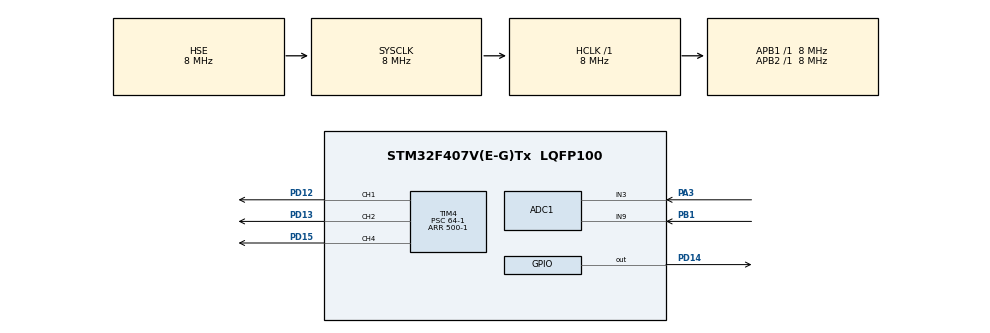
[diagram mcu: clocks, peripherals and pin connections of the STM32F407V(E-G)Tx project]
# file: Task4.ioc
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ADC1.Channel-10\#ChannelRegularConversion=ADC_CHANNEL_TEMPSENSOR
ADC1.Channel-8\#ChannelRegularConversion=ADC_CHANNEL_3
ADC1.Channel-9\#ChannelRegularConversion=ADC_CHANNEL_9
ADC1.ContinuousConvMode=ENABLE
ADC1.DMAContinuousRequests=ENABLE
ADC1.NbrOfConversion=3
ADC1.NbrOfConversionFlag=1
ADC1.Rank-10\#ChannelRegularConversion=3
ADC1.Rank-8\#ChannelRegularConversion=1
ADC1.Rank-9\#ChannelRegularConversion=2
ADC1.SamplingTime-10\#ChannelRegularConversion=ADC_SAMPLETIME_480CYCLES
ADC1.SamplingTime-8\#ChannelRegularConversion=ADC_SAMPLETIME_480CYCLES
ADC1.SamplingTime-9\#ChannelRegularConversion=ADC_SAMPLETIME_480CYCLES
ADC1.master=1
Dma.ADC1.0.Direction=DMA_PERIPH_TO_MEMORY
Dma.ADC1.0.FIFOMode=DMA_FIFOMODE_DISABLE
Dma.ADC1.0.Instance=DMA2_Stream0
Dma.ADC1.0.MemDataAlignment=DMA_MDATAALIGN_WORD
Dma.ADC1.0.MemInc=DMA_MINC_ENABLE
Dma.ADC1.0.Mode=DMA_CIRCULAR
Dma.ADC1.0.PeriphDataAlignment=DMA_PDATAALIGN_WORD
Dma.ADC1.0.PeriphInc=DMA_PINC_DISABLE
Dma.ADC1.0.Priority=DMA_PRIORITY_LOW
Dma.Request0=ADC1
Mcu.Family=STM32F4
Mcu.Name=STM32F407V(E-G)Tx
Mcu.Package=LQFP100
NVIC.DMA2_Stream0_IRQn=true\:0\:0\:false\:false\:true\:false\:true
NVIC.PriorityGroup=NVIC_PRIORITYGROUP_4
PA3.Signal=ADCx_IN3
PB1.Signal=ADCx_IN9
PD12.Signal=S_TIM4_CH1
PD13.Signal=S_TIM4_CH2
PD14.Signal=GPIO_Output
PD15.Signal=S_TIM4_CH4
PH0-OSC_IN.Mode=HSE-External-Oscillator
PH0-OSC_IN.Signal=RCC_OSC_IN
PH1-OSC_OUT.Mode=HSE-External-Oscillator
PH1-OSC_OUT.Signal=RCC_OSC_OUT
ProjectManager.HeapSize=0x200
ProjectManager.StackSize=0x400
ProjectManager.TargetToolchain=STM32CubeIDE
RCC.48MHZClocksFreq_Value=24000000
RCC.AHBFreq_Value=8000000
RCC.APB1Freq_Value=8000000
RCC.APB1TimFreq_Value=8000000
RCC.APB2Freq_Value=8000000
RCC.APB2TimFreq_Value=8000000
RCC.CortexFreq_Value=8000000
RCC.HCLKFreq_Value=8000000
RCC.HSE_VALUE=8000000
RCC.HSI_VALUE=16000000
RCC.LSE_VALUE=32768
RCC.PLLSourceVirtual=RCC_PLLSOURCE_HSE
RCC.SYSCLKFreq_VALUE=8000000
RCC.SYSCLKSource=RCC_SYSCLKSOURCE_HSE
RCC.VCOOutputFreq_Value=96000000
SH.ADCx_IN3.0=ADC1_IN3,IN3
SH.ADCx_IN9.0=ADC1_IN9,IN9
SH.S_TIM4_CH1.0=TIM4_CH1,PWM Generation1 CH1
SH.S_TIM4_CH2.0=TIM4_CH2,PWM Generation2 CH2
SH.S_TIM4_CH4.0=TIM4_CH4,PWM Generation4 CH4
TIM4.AutoReloadPreload=TIM_AUTORELOAD_PRELOAD_ENABLE
TIM4.Channel-PWM\ Generation1\ CH1=TIM_CHANNEL_1
TIM4.Channel-PWM\ Generation2\ CH2=TIM_CHANNEL_2
TIM4.Channel-PWM\ Generation4\ CH4=TIM_CHANNEL_4
TIM4.Period=500-1
TIM4.Prescaler=64-1
VP_ADC1_TempSens_Input.Mode=IN-TempSens
board=custom

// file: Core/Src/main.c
/* USER CODE BEGIN Header */
/**
 ******************************************************************************
 * @file           : main.c
 * @brief          : Main program body
 ******************************************************************************
 * @attention
 *
 * <h2><center>&copy; Copyright (c) 2021 STMicroelectronics.
 * All rights reserved.</center></h2>
 *
 * This software component is licensed by ST under BSD 3-Clause license,
 * the "License"; You may not use this file except in compliance with the
 * License. You may obtain a copy of the License at:
 *                        opensource.org/licenses/BSD-3-Clause
 *
 ******************************************************************************
 */
/* USER CODE END Header */
#include "main.h"

/* USER CODE BEGIN PD */
#define V_REF 2900				//measured on board

#define ADC_MAX_VALUE 4095
#define ADC_MIN_VALUE 0
#define PWM_MAX_VALUE 500
#define PWM_MIN_VALUE 0

#define EMERGENCY_1_BLINK_PERIOD 1000
#define EMERGENCY_2_BLINK_PERIOD 2500
#define EMERGENCY_3_BLINK_PERIOD 5000

/*emergency (maximum) voltage on potentiometer in mV*/
#define EMERGENCY_VOLTAGE_POT 2500
/*emergency (maximum) temp on sensors in Celsius*/
#define EMERGENCY_TEMP_INT 20
#define EMERGENCY_TEMP_EXT 18

//for internal temp sensor
#define V25 760
#define AVG_SLOPE 2.5
/* USER CODE END PD */

/* USER CODE BEGIN PV */
ADC_HandleTypeDef hadc1;
DMA_HandleTypeDef hdma_adc1;
TIM_HandleTypeDef htim4;
uint32_t adc_data[3];

/*for red blinking led*/
uint32_t T = 0;
uint8_t flag = 0;

uint8_t emergency_state = 0; 			// 0 - disabled
uint16_t blink_period = 1000;

/*vars to store current state of each voltage (0 - everything ok, 1 - emergency)*/
uint8_t war_pot = 0;
uint8_t war_int = 0;
uint8_t war_ext = 0;

float V_pot = 0;						//voltage of potentiometer in mV

float V_int = 0;						//voltage of internal sensor in mV
float temp_int = 0;						//temp of internal sensor in Celsius

float V_ext = 0;						//voltage of external sensor in mV
float temp_ext = 0;						//temp of external sensor in Celsius
/* USER CODE END PV */

void SystemClock_Config(void);
static void MX_GPIO_Init(void);
static void MX_TIM4_Init(void);
static void MX_DMA_Init(void);
static void MX_ADC1_Init(void);

/* USER CODE BEGIN 0 */
int map(int input) {
	return (input - ADC_MIN_VALUE) * PWM_MAX_VALUE
			/ (ADC_MAX_VALUE - ADC_MIN_VALUE);
}

void readVoltageAndTemp ()
{
	V_pot = ((float)adc_data[0]/ADC_MAX_VALUE) * V_REF;

	V_int = ((float)adc_data[2]/ADC_MAX_VALUE) * V_REF;
	temp_int = ((V_int - V25)/AVG_SLOPE)+25.0;				//formula from datasheet

	V_ext = ((float)adc_data[1]/ADC_MAX_VALUE) * V_REF;
	temp_ext = V_ext/10;
}

void checkEmergencyStates ()
{
	if(V_pot > EMERGENCY_VOLTAGE_POT)
		war_pot = 1;
	else
		war_pot = 0;

	if(temp_ext > EMERGENCY_TEMP_EXT)
		war_int = 1;
	else
		war_int = 0;

	if(temp_ext > EMERGENCY_TEMP_INT)
		war_ext = 1;
	else
		war_ext = 0;
	emergency_state = war_pot + war_int + war_ext;
}

void blinkRedLed()
{
	switch (emergency_state) {
		case 0:
			HAL_GPIO_WritePin(GPIOD, GPIO_PIN_14, GPIO_PIN_RESET);
			break;
		case 1:
			blink_period = EMERGENCY_1_BLINK_PERIOD;
			break;
		case 2:
			blink_period = EMERGENCY_2_BLINK_PERIOD;
			break;
		case 3:
			blink_period = EMERGENCY_3_BLINK_PERIOD;
			break;

		}
		if(emergency_state)
		{
			if (flag == 1) {
				if (HAL_GetTick() - T >= blink_period) {
					flag = 0;
					T = HAL_GetTick();
				}
			}
			if (flag == 0) {
				if (HAL_GetTick() - T >= blink_period) {
					flag = 1;
					T = HAL_GetTick();
				}
			}
			HAL_GPIO_WritePin(GPIOD, GPIO_PIN_14, flag);
		}
}
/* USER CODE END 0 */

int main(void) {

	/* MCU Configuration--------------------------------------------------------*/

	/* Reset of all peripherals, Initializes the Flash interface and the Systick. */
	HAL_Init();

	/* Configure the system clock */
	SystemClock_Config();

	/* Initialize all configured peripherals */
	MX_GPIO_Init();
	MX_TIM4_Init();
	MX_DMA_Init();
	MX_ADC1_Init();
	/* USER CODE BEGIN 2 */
	HAL_TIM_PWM_Start(&htim4, TIM_CHANNEL_1);
	HAL_TIM_PWM_Start(&htim4, TIM_CHANNEL_2);
	HAL_TIM_PWM_Start(&htim4, TIM_CHANNEL_4);

	HAL_ADC_Start_DMA(&hadc1, adc_data, 3);
	T = HAL_GetTick();
	/* USER CODE END 2 */

	/* Infinite loop */
	/* USER CODE BEGIN WHILE */
	while (1) {
		/*set pwm on leds*/
		TIM4->CCR1 = map(adc_data[0]);
		TIM4->CCR2 = map(adc_data[1]);
		TIM4->CCR4 = map(adc_data[2]);

		readVoltageAndTemp();
		checkEmergencyStates();
		blinkRedLed();

		/* USER CODE END WHILE */

	}
}

void SystemClock_Config(void) {
	RCC_OscInitTypeDef RCC_OscInitStruct = { 0 };
	RCC_ClkInitTypeDef RCC_ClkInitStruct = { 0 };

	/** Configure the main internal regulator output voltage
	 */
	__HAL_RCC_PWR_CLK_ENABLE();
	__HAL_PWR_VOLTAGESCALING_CONFIG(PWR_REGULATOR_VOLTAGE_SCALE1);
	/** Initializes the RCC Oscillators according to the specified parameters
	 * in the RCC_OscInitTypeDef structure.
	 */
	RCC_OscInitStruct.OscillatorType = RCC_OSCILLATORTYPE_HSE;
	RCC_OscInitStruct.HSEState = RCC_HSE_ON;
	RCC_OscInitStruct.PLL.PLLState = RCC_PLL_NONE;
	if (HAL_RCC_OscConfig(&RCC_OscInitStruct) != HAL_OK) {
		Error_Handler();
	}
	/** Initializes the CPU, AHB and APB buses clocks
	 */
	RCC_ClkInitStruct.ClockType = RCC_CLOCKTYPE_HCLK | RCC_CLOCKTYPE_SYSCLK
			| RCC_CLOCKTYPE_PCLK1 | RCC_CLOCKTYPE_PCLK2;
	RCC_ClkInitStruct.SYSCLKSource = RCC_SYSCLKSOURCE_HSE;
	RCC_ClkInitStruct.AHBCLKDivider = RCC_SYSCLK_DIV1;
	RCC_ClkInitStruct.APB1CLKDivider = RCC_HCLK_DIV1;
	RCC_ClkInitStruct.APB2CLKDivider = RCC_HCLK_DIV1;

	if (HAL_RCC_ClockConfig(&RCC_ClkInitStruct, FLASH_LATENCY_0) != HAL_OK) {
		Error_Handler();
	}
}

static void MX_ADC1_Init(void) {

	ADC_ChannelConfTypeDef sConfig = { 0 };

	/** Configure the global features of the ADC (Clock, Resolution, Data Alignment and number of conversion)
	 */
	hadc1.Instance = ADC1;
	hadc1.Init.ClockPrescaler = ADC_CLOCK_SYNC_PCLK_DIV2;
	hadc1.Init.Resolution = ADC_RESOLUTION_12B;
	hadc1.Init.ScanConvMode = ENABLE;
	hadc1.Init.ContinuousConvMode = ENABLE;
	hadc1.Init.DiscontinuousConvMode = DISABLE;
	hadc1.Init.ExternalTrigConvEdge = ADC_EXTERNALTRIGCONVEDGE_NONE;
	hadc1.Init.ExternalTrigConv = ADC_SOFTWARE_START;
	hadc1.Init.DataAlign = ADC_DATAALIGN_RIGHT;
	hadc1.Init.NbrOfConversion = 3;
	hadc1.Init.DMAContinuousRequests = ENABLE;
	hadc1.Init.EOCSelection = ADC_EOC_SINGLE_CONV;
	if (HAL_ADC_Init(&hadc1) != HAL_OK) {
		Error_Handler();
	}
	/** Configure for the selected ADC regular channel its corresponding rank in the sequencer and its sample time.
	 */
	sConfig.Channel = ADC_CHANNEL_3;
	sConfig.Rank = 1;
	sConfig.SamplingTime = ADC_SAMPLETIME_480CYCLES;
	if (HAL_ADC_ConfigChannel(&hadc1, &sConfig) != HAL_OK) {
		Error_Handler();
	}
	/** Configure for the selected ADC regular channel its corresponding rank in the sequencer and its sample time.
	 */
	sConfig.Channel = ADC_CHANNEL_9;
	sConfig.Rank = 2;
	if (HAL_ADC_ConfigChannel(&hadc1, &sConfig) != HAL_OK) {
		Error_Handler();
	}
	/** Configure for the selected ADC regular channel its corresponding rank in the sequencer and its sample time.
	 */
	sConfig.Channel = ADC_CHANNEL_TEMPSENSOR;
	sConfig.Rank = 3;
	if (HAL_ADC_ConfigChannel(&hadc1, &sConfig) != HAL_OK) {
		Error_Handler();
	}

}

static void MX_TIM4_Init(void) {

	TIM_MasterConfigTypeDef sMasterConfig = { 0 };
	TIM_OC_InitTypeDef sConfigOC = { 0 };

	htim4.Instance = TIM4;
	htim4.Init.Prescaler = 64 - 1;
	htim4.Init.CounterMode = TIM_COUNTERMODE_UP;
	htim4.Init.Period = 500 - 1;
	htim4.Init.ClockDivision = TIM_CLOCKDIVISION_DIV1;
	htim4.Init.AutoReloadPreload = TIM_AUTORELOAD_PRELOAD_ENABLE;
	if (HAL_TIM_PWM_Init(&htim4) != HAL_OK) {
		Error_Handler();
	}
	sMasterConfig.MasterOutputTrigger = TIM_TRGO_RESET;
	sMasterConfig.MasterSlaveMode = TIM_MASTERSLAVEMODE_DISABLE;
	if (HAL_TIMEx_MasterConfigSynchronization(&htim4, &sMasterConfig)
			!= HAL_OK) {
		Error_Handler();
	}
	sConfigOC.OCMode = TIM_OCMODE_PWM1;
	sConfigOC.Pulse = 0;
	sConfigOC.OCPolarity = TIM_OCPOLARITY_HIGH;
	sConfigOC.OCFastMode = TIM_OCFAST_DISABLE;
	if (HAL_TIM_PWM_ConfigChannel(&htim4, &sConfigOC, TIM_CHANNEL_1)
			!= HAL_OK) {
		Error_Handler();
	}
	if (HAL_TIM_PWM_ConfigChannel(&htim4, &sConfigOC, TIM_CHANNEL_2)
			!= HAL_OK) {
		Error_Handler();
	}
	if (HAL_TIM_PWM_ConfigChannel(&htim4, &sConfigOC, TIM_CHANNEL_4)
			!= HAL_OK) {
		Error_Handler();
	}
	HAL_TIM_MspPostInit(&htim4);

}

static void MX_DMA_Init(void) {

	/* DMA controller clock enable */
	__HAL_RCC_DMA2_CLK_ENABLE();

	/* DMA interrupt init */
	/* DMA2_Stream0_IRQn interrupt configuration */
	HAL_NVIC_SetPriority(DMA2_Stream0_IRQn, 0, 0);
	HAL_NVIC_EnableIRQ(DMA2_Stream0_IRQn);

}

static void MX_GPIO_Init(void) {
	GPIO_InitTypeDef GPIO_InitStruct = { 0 };

	/* GPIO Ports Clock Enable */
	__HAL_RCC_GPIOH_CLK_ENABLE();
	__HAL_RCC_GPIOA_CLK_ENABLE();
	__HAL_RCC_GPIOB_CLK_ENABLE();
	__HAL_RCC_GPIOD_CLK_ENABLE();

	/*Configure GPIO pin Output Level */
	HAL_GPIO_WritePin(GPIOD, GPIO_PIN_14, GPIO_PIN_RESET);

	/*Configure GPIO pin : PD14 */
	GPIO_InitStruct.Pin = GPIO_PIN_14;
	GPIO_InitStruct.Mode = GPIO_MODE_OUTPUT_PP;
	GPIO_InitStruct.Pull = GPIO_NOPULL;
	GPIO_InitStruct.Speed = GPIO_SPEED_FREQ_LOW;
	HAL_GPIO_Init(GPIOD, &GPIO_InitStruct);

}

void Error_Handler(void) {
	__disable_irq();
	while (1) {
	}
}

/************************ (C) COPYRIGHT STMicroelectronics *****END OF FILE****/
